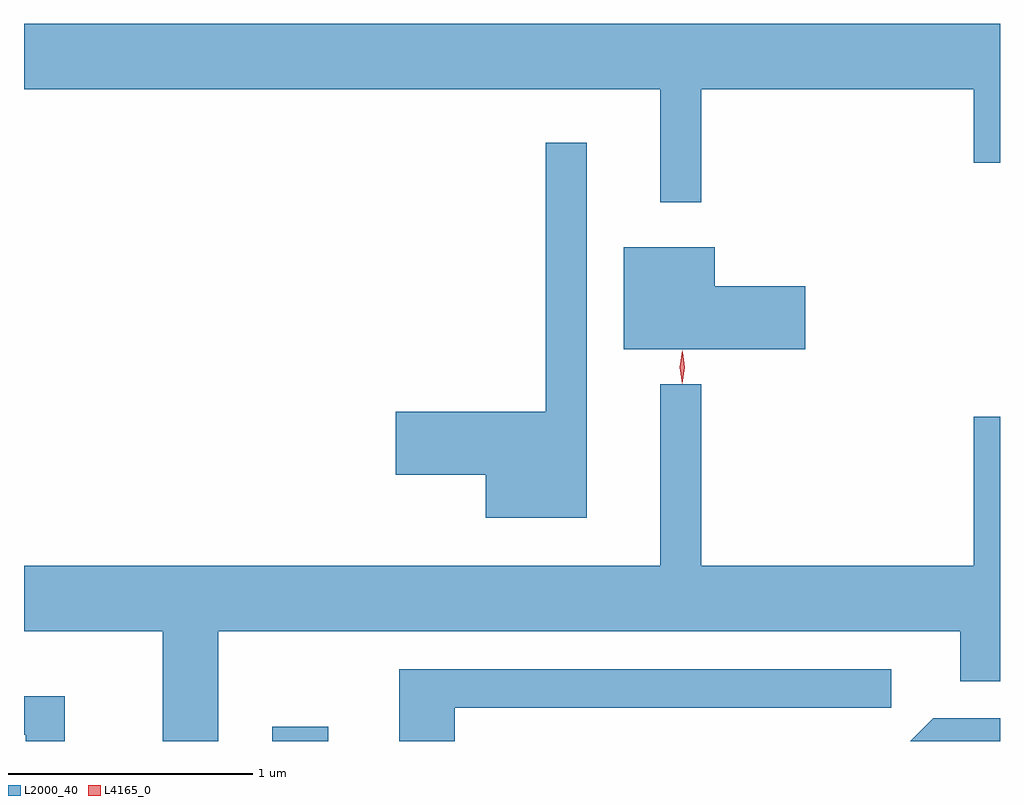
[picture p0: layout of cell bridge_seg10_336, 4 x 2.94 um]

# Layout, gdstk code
import gdstk
lib = gdstk.Library(unit=1e-6, precision=1e-09)
def R(c, l, rs):  # rectangles x0, y0, x1, y1
    for r in rs: c.add(gdstk.rectangle(r[:2], r[2:], *l))
def P(c, l, *ps):  # polygons
    for p in ps: c.add(gdstk.Polygon(p, *l))
L2000_40 = (2000, 40)
L4165_0 = (4165, 0)

bridge_seg10_336 = lib.new_cell('bridge_seg10_336')
R(bridge_seg10_336, L2000_40, [(1071.341,2171.185,1071.569,2171.244)])
P(bridge_seg10_336, L2000_40, [(1073.099,2173.856),(1074.216,2173.856),(1074.216,2173.556),(1074.323,2173.556),(1074.323,2174.124),(1070.323,2174.124),(1070.323,2173.856),(1072.931,2173.856),(1072.931,2173.393),(1073.099,2173.393)],
  [(1072.629,2173.638),(1072.461,2173.638),(1072.461,2172.534),(1071.846,2172.534),(1071.846,2172.276),(1072.216,2172.276),(1072.216,2172.101),(1072.629,2172.101)],
  [(1073.524,2173.049),(1073.154,2173.049),(1073.154,2173.209),(1072.781,2173.209),(1072.781,2172.791),(1073.524,2172.791)],
  [(1071.119,2171.636),(1074.161,2171.636),(1074.161,2171.431),(1074.323,2171.431),(1074.323,2172.514),(1074.216,2172.514),(1074.216,2171.904),(1073.099,2171.904),(1073.099,2172.648),(1072.931,2172.648),(1072.931,2171.904),(1070.323,2171.904),(1070.323,2171.636),(1070.891,2171.636),(1070.891,2171.185),(1071.119,2171.185)],
  [(1072.089,2171.321),(1073.878,2171.321),(1073.878,2171.479),(1071.861,2171.479),(1071.861,2171.185),(1072.089,2171.185)],
  [(1070.489,2171.369),(1070.323,2171.369),(1070.323,2171.211),(1070.331,2171.211),(1070.331,2171.185),(1070.489,2171.185)],
  [(1074.323,2171.279),(1074.049,2171.279),(1073.955,2171.185),(1074.323,2171.185)])
P(bridge_seg10_336, L4165_0, [(1073.02,2172.65),(1073.02,2172.65),(1073.01,2172.718),(1073.02,2172.785),(1073.02,2172.786),(1073.021,2172.785),(1073.03,2172.718),(1073.021,2172.65)],
  [(1073.02,2172.653),(1073.02,2172.653),(1073.012,2172.716),(1073.022,2172.779),(1073.022,2172.78),(1073.023,2172.779),(1073.032,2172.716),(1073.021,2172.653)])

lib.write_gds('bridge_seg10_336.gds')
